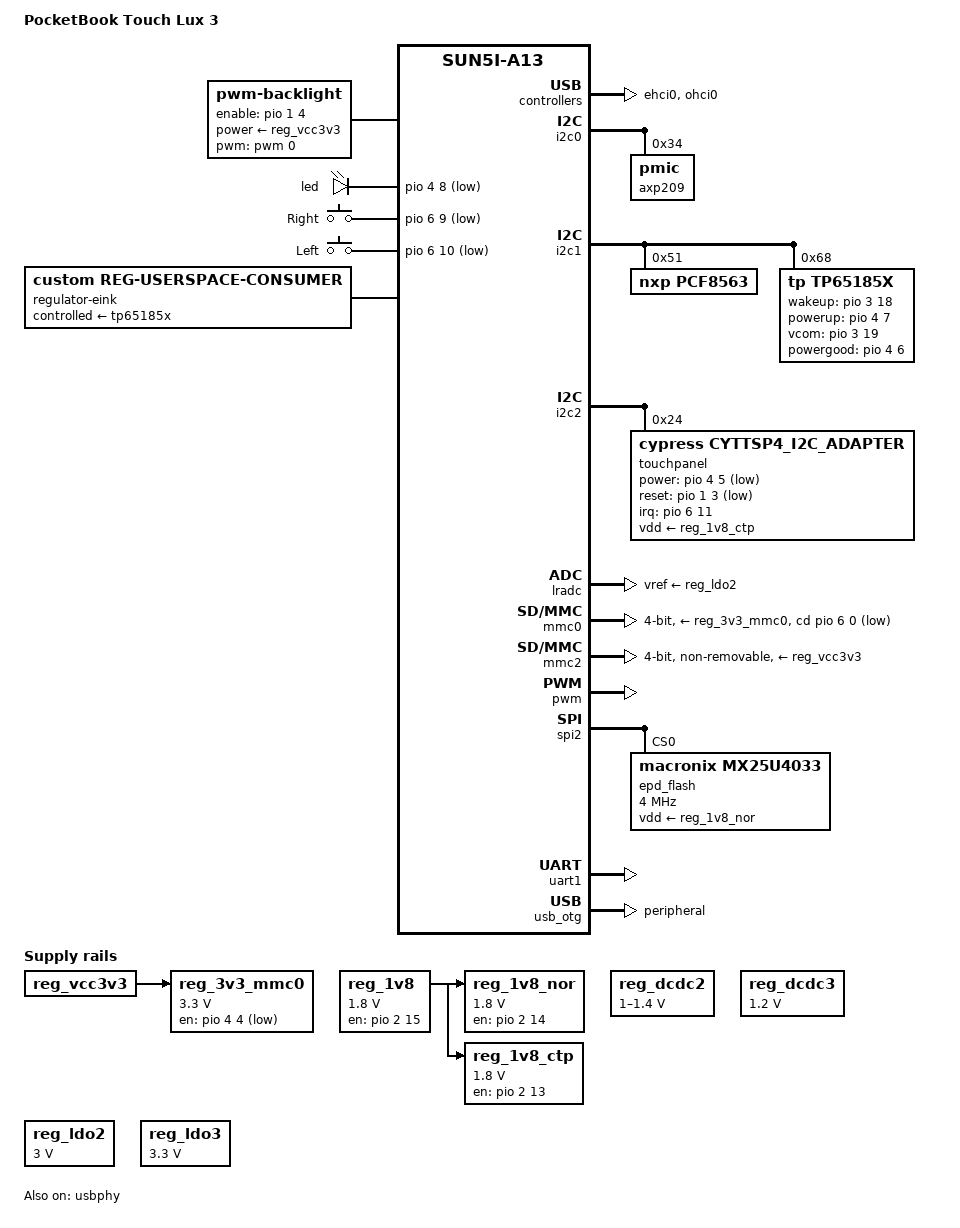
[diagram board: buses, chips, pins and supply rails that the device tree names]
// SPDX-License-Identifier: GPL-2.0 OR MIT
/*
 * Copyright 2019 Ondrej Jirman <megous@megous.com>
 */

/dts-v1/;
#include "sun5i-a13.dtsi"
#include "sunxi-common-regulators.dtsi"
#include <dt-bindings/gpio/gpio.h>
#include <dt-bindings/input/input.h>
#include <dt-bindings/interrupt-controller/irq.h>
#include <dt-bindings/pwm/pwm.h>

/ {
	model = "PocketBook Touch Lux 3";
	compatible = "pocketbook,touch-lux-3", "allwinner,sun5i-a13";

	aliases {
		serial0 = &uart1;
		i2c0 = &i2c0;
		i2c1 = &i2c1;
		i2c2 = &i2c2;
	};

	backlight {
		compatible = "pwm-backlight";
		pwms = <&pwm 0 50000 PWM_POLARITY_INVERTED>;
		enable-gpios = <&pio 1 4 GPIO_ACTIVE_HIGH>; /* PB4 */
		brightness-levels = <0 10 20 30 40 50 60 70 80 90 100>;
		default-brightness-level = <8>;
		power-supply = <&reg_vcc3v3>;
	};

	chosen {
		stdout-path = "serial0:115200n8";
	};

	leds {
		compatible = "gpio-leds";

		led {
			gpios = <&pio 4 8 GPIO_ACTIVE_LOW>; /* PE8 */
			default-state = "on";
		};
	};

	gpio-keys {
		compatible = "gpio-keys";
		autorepeat;
		label = "GPIO Keys";

		key-right {
			label = "Right";
			linux,code = <KEY_RIGHT>;
			gpios = <&pio 6 9 (GPIO_ACTIVE_LOW | GPIO_PULL_UP)>; /* PG9 */
		};

		key-left {
			label = "Left";
			linux,code = <KEY_LEFT>;
			gpios = <&pio 6 10 (GPIO_ACTIVE_LOW | GPIO_PULL_UP)>; /* PG10 */
		};
	};

	regulator-eink {
		compatible = "custom,reg-userspace-consumer";
		controlled-supply = <&tp65185x>;
	};

	reg_1v8: regulator-1v8 {
		compatible = "regulator-fixed";
		regulator-name = "vdd-1v8-nor-ctp";
		regulator-min-microvolt = <1800000>;
		regulator-max-microvolt = <1800000>;
		gpio = <&pio 2 15 GPIO_ACTIVE_HIGH>;
		enable-active-high;
	};

	reg_1v8_nor: regulator-nor {
		compatible = "regulator-fixed";
		regulator-name = "vdd-nor";
		regulator-min-microvolt = <1800000>;
		regulator-max-microvolt = <1800000>;
		gpio = <&pio 2 14 GPIO_ACTIVE_HIGH>;
		enable-active-high;
		vin-supply = <&reg_1v8>;
	};

	reg_1v8_ctp: regulator-ctp {
		compatible = "regulator-fixed";
		regulator-name = "vdd-ctp";
		regulator-min-microvolt = <1800000>;
		regulator-max-microvolt = <1800000>;
		gpio = <&pio 2 13 GPIO_ACTIVE_HIGH>;
		enable-active-high;
		vin-supply = <&reg_1v8>;
	};

	reg_3v3_mmc0: regulator-mmc0 {
		compatible = "regulator-fixed";
		regulator-name = "vdd-mmc0";
		regulator-min-microvolt = <3300000>;
		regulator-max-microvolt = <3300000>;
		gpio = <&pio 4 4 GPIO_ACTIVE_LOW>; /* PE4 */
		vin-supply = <&reg_vcc3v3>;
	};
};

&cpu0 {
	cpu-supply = <&reg_dcdc2>;
};

&ehci0 {
	status = "okay";
};

&i2c0 {
	status = "okay";
	//XXX: bsp has pullup on PB0/PB1 pins enabled, but it works without it

	axp209: pmic@34 {
		reg = <0x34>;
		interrupts = <0>;
	};
};

#include "axp209.dtsi"

&i2c1 {
	status = "okay";

	pcf8563: rtc@51 {
		compatible = "nxp,pcf8563";
		reg = <0x51>;
		#clock-cells = <0>;
	};

	// hacky PMIC driver for eInk display
	tp65185x: regulator@68 {
		compatible = "tp,tp65185x";
		reg = <0x68>;

		regulator-min-microvolt = <3120000>;
		regulator-max-microvolt = <3120000>;
		regulator-name = "eink-vcom";

		//XXX: we don't use interrupts in the driver right now
		//interrupt-parent = <&pio>;
		//interrupts = <1 10 IRQ_TYPE_LEVEL_LOW>; /* PB10 */

		wakeup-gpios = <&pio 3 18 GPIO_ACTIVE_HIGH>; /* PD18 */
		powerup-gpios = <&pio 4 7 GPIO_ACTIVE_HIGH>; /* PE7 */
		vcom-gpios = <&pio 3 19 GPIO_ACTIVE_HIGH>; /* PD19 */
		//XXX: not a pullup on BSP (might have an external resistor)
		powergood-gpios = <&pio 4 6 (GPIO_ACTIVE_HIGH | GPIO_PULL_UP)>; /* PE6 */
	};
};

&i2c2 {
	status = "okay";

	touchpanel@24 {
		compatible = "cypress,cyttsp4_i2c_adapter";
		reg = <0x24>;

		interrupt-parent = <&pio>;
		interrupts = <6 11 IRQ_TYPE_EDGE_FALLING>; /* PG11 */

		vdd-supply = <&reg_1v8_ctp>;
		power-gpios = <&pio 4 5 GPIO_ACTIVE_LOW>; /* PE5 */
		reset-gpios = <&pio 1 3 GPIO_ACTIVE_LOW>; /* PB3 */
	};
};

&lradc {
	vref-supply = <&reg_ldo2>;
	status = "okay";

	button-200 {
		label = "Home";
		linux,code = <KEY_HOME>;
		channel = <0>;
		voltage = <200000>;
	};

	button-400 {
		label = "Menu";
		linux,code = <KEY_MENU>;
		channel = <0>;
		voltage = <400000>;
	};
};

&mmc0 {
	vmmc-supply = <&reg_3v3_mmc0>;
	bus-width = <4>;
	cd-gpios = <&pio 6 0 GPIO_ACTIVE_LOW>; /* PG0 */
	status = "okay";
};

&mmc2 {
	pinctrl-names = "default";
	pinctrl-0 = <&mmc2_4bit_pc_pins>;
	vmmc-supply = <&reg_vcc3v3>;
	bus-width = <4>;
	non-removable;
	status = "okay";
};

&ohci0 {
	status = "okay";
};

&otg_sram {
	status = "okay";
};

&pio {
	eink_pins_active: eink-pins-lcd {
		pins = "PD3", "PD4", "PD5", "PD6", "PD7", "PD10", "PD11", "PD12",
			"PD13", "PD15", "PD20", "PD21", "PD22", "PD23", "PD24";
		function = "lcd0";
	};

	eink_pins_idle: eink-pins-gpio {
		pins = "PD3", "PD4", "PD5", "PD6", "PD7", "PD10", "PD11", "PD12",
			"PD13", "PD15", "PD20", "PD21", "PD22", "PD23", "PD24";
		function = "gpio_out";
	};
};

&pwm {
	pinctrl-names = "default";
	pinctrl-0 = <&pwm0_pin>;
	status = "okay";
};

&reg_dcdc2 {
	regulator-always-on;
	regulator-min-microvolt = <1000000>;
	regulator-max-microvolt = <1400000>;
	regulator-name = "vdd-cpu";
};

&reg_dcdc3 {
	regulator-always-on;
	regulator-min-microvolt = <1200000>;
	regulator-max-microvolt = <1200000>;
	regulator-name = "vdd-int-pll";
};

&reg_ldo1 {
	regulator-name = "vdd-rtc";
};

&reg_ldo2 {
	regulator-always-on;
	regulator-min-microvolt = <3000000>;
	regulator-max-microvolt = <3000000>;
	regulator-name = "avcc";
};

&reg_ldo3 {
	regulator-min-microvolt = <3300000>;
	regulator-max-microvolt = <3300000>;
	regulator-name = "vcc-wifi";
	/* We need this otherwise the LDO3 would overload */
	regulator-soft-start;
	regulator-ramp-delay = <1600>;
};

&soc {
	display-controller@1c0c000 {
		pinctrl-names = "idle", "active";
		pinctrl-0 = <&eink_pins_idle>;
		pinctrl-1 = <&eink_pins_active>;

		all-gpios = <&pio 3 3 GPIO_ACTIVE_HIGH>,
			<&pio 3 4 GPIO_ACTIVE_HIGH>,
			<&pio 3 5 GPIO_ACTIVE_HIGH>,
			<&pio 3 6 GPIO_ACTIVE_HIGH>,
			<&pio 3 7 GPIO_ACTIVE_HIGH>,
			<&pio 3 10 GPIO_ACTIVE_HIGH>,
			<&pio 3 11 GPIO_ACTIVE_HIGH>,
			<&pio 3 12 GPIO_ACTIVE_HIGH>,
			<&pio 3 13 GPIO_ACTIVE_HIGH>,
			<&pio 3 15 GPIO_ACTIVE_HIGH>,
			<&pio 3 20 GPIO_ACTIVE_HIGH>,
			<&pio 3 21 GPIO_ACTIVE_HIGH>,
			<&pio 3 22 GPIO_ACTIVE_HIGH>,
			<&pio 3 23 GPIO_ACTIVE_HIGH>,
			<&pio 3 24 GPIO_ACTIVE_HIGH>;

		compatible = "custom,pocketbook-touch-lux-3-tcon0-ed060xd4-display";
		reg = <0x01c0c000 0x1000>, // TCON0 regs
			<0x01e60000 0x10000>; // DEBE regs

		interrupts = <44>; // TCON interrupt

		resets = <&ccu RST_LCD>, <&ccu RST_DE_BE>;
		reset-names = "tcon", "be";

		clocks = <&ccu CLK_AHB_LCD>, <&ccu CLK_TCON_CH0>,
			 <&ccu CLK_AHB_DE_BE>, <&ccu CLK_DE_BE>,
			 <&ccu CLK_DRAM_DE_BE>;
		clock-names = "tcon_bus", "tcon_mod",
			      "be_bus", "be_mod",
			      "be_ram";

		assigned-clocks = <&ccu CLK_DE_BE>;
		assigned-clock-rates = <300000000>;

		interconnects = <&mbus 18>;
		interconnect-names = "dma-mem";

		panel-supply = <&tp65185x>;
		control-device-name = "eink-panel";
	};
};

&spi2 {
	pinctrl-names = "default";
	pinctrl-0 = <&spi2_pe_pins>, <&spi2_cs0_pe_pin>;
	status = "okay";

	epd_flash: flash@0 {
		#address-cells = <1>;
		#size-cells = <1>;
		compatible = "macronix,mx25u4033", "jedec,spi-nor";
		reg = <0>;
		spi-max-frequency = <4000000>;
		vdd-supply = <&reg_1v8_nor>;
	};
};

&uart1 {
	pinctrl-names = "default";
	pinctrl-0 = <&uart1_pg_pins>;
	status = "okay";
};

&usb_otg {
	dr_mode = "peripheral";
	status = "okay";
};

&battery_power_supply {
	status = "okay";
};

&usb_power_supply {
	status = "okay";
};

&usbphy {
	//XXX: might not work, need to test
	usb0_vbus_det-gpios = <&pio 6 1 GPIO_ACTIVE_HIGH>; /* PG1 */
	usb1_vbus-supply = <&reg_ldo3>;
	status = "okay";
};
